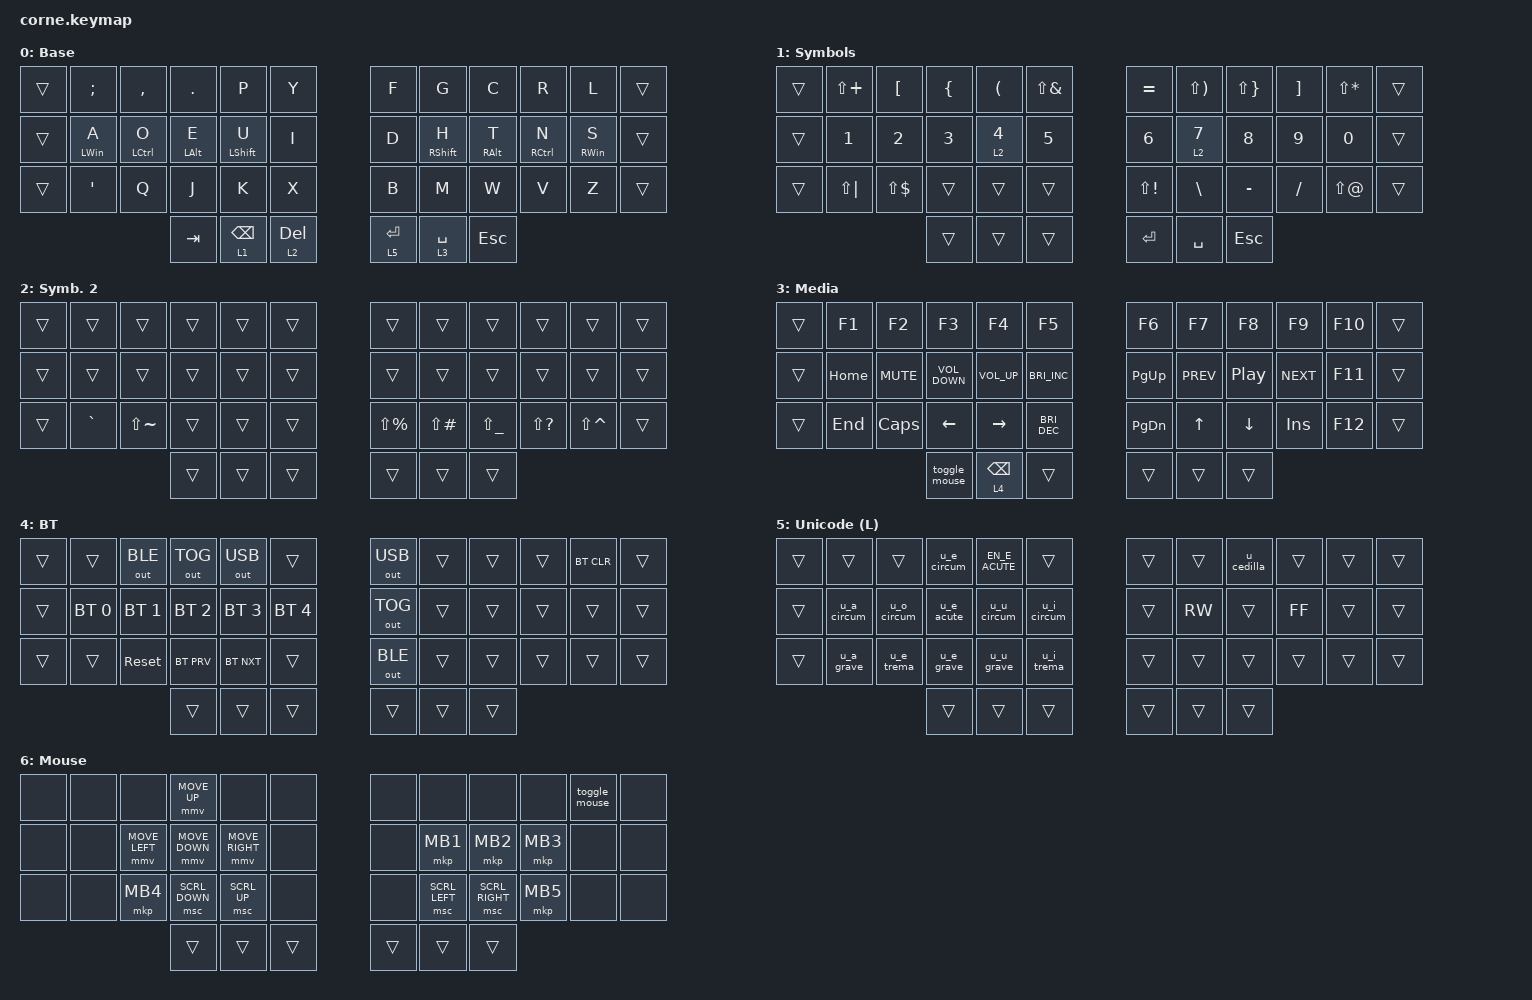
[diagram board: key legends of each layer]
/*
 * Copyright (c) 2020 The ZMK Contributors
 *
 * SPDX-License-Identifier: MIT
 */

#include <behaviors.dtsi>
#include <dt-bindings/zmk/bt.h>
#include <dt-bindings/zmk/keys.h>
#include <dt-bindings/zmk/outputs.h>
#include <dt-bindings/zmk/pointing.h>
#include "keys_us_international.h"

&mt {
    tapping-term-ms = <165>;
    require-prior-idle-ms = <120>;
    quick-tap-ms = <120>;
    flavor = "tap-preferred";
};

&lt { quick-tap-ms = <150>; };

&mmv { acceleration-exponent = <4>; };

/ {
    macros {
        u_cedilla: unicode {
            compatible = "zmk,behavior-macro";
            #binding-cells = <0>;
            bindings = <&kp LC(RS(U)) &kp E &kp NUMBER_7 &kp RETURN>;
            label = "UNICODE";
        };

        u_e_acute: unicode_e_acute {
            compatible = "zmk,behavior-macro";
            #binding-cells = <0>;
            bindings = <&kp LC(RS(U)) &kp E &kp N9 &kp RETURN>;
            label = "UNICODE_E_ACUTE";
        };

        u_e_grave: unicode_e_grave {
            compatible = "zmk,behavior-macro";
            #binding-cells = <0>;
            bindings = <&kp LC(RS(U)) &kp E &kp N8 &kp RETURN>;
            label = "UNICODE_E_GRAVE";
        };

        u_e_circum: u_e_circum {
            compatible = "zmk,behavior-macro";
            #binding-cells = <0>;
            bindings = <&kp LC(RS(U)) &kp E &kp A &kp RETURN>;
            label = "U_E_CIRCUM";
            wait-ms = <0>;
        };

        u_e_trema: u_e_trema {
            compatible = "zmk,behavior-macro";
            #binding-cells = <0>;
            bindings = <&kp LC(RS(U)) &kp E &kp B &kp RETURN>;
            label = "U_E_TREMA";
        };

        u_o_circum: u_o_circum {
            compatible = "zmk,behavior-macro";
            #binding-cells = <0>;
            bindings = <&kp LC(RS(U)) &kp F &kp N4 &kp RETURN>;
            label = "U_O_CIRCUM";
        };

        u_i_circum: u_i_circum {
            compatible = "zmk,behavior-macro";
            #binding-cells = <0>;
            bindings = <&kp LC(RS(U)) &kp E &kp E &kp RETURN>;
            label = "U_I_CIRCUM";
        };

        u_i_trema: u_i_trema {
            compatible = "zmk,behavior-macro";
            #binding-cells = <0>;
            bindings = <&kp LC(RS(U)) &kp E &kp F &kp RETURN>;
            label = "U_I_TREMA";
        };

        u_a_grave: u_a_grave {
            compatible = "zmk,behavior-macro";
            #binding-cells = <0>;
            bindings = <&kp LC(RS(U)) &kp E &kp N0 &kp RETURN>;
            label = "U_A_GRAVE";
        };

        u_u_grave: u_u_grave {
            compatible = "zmk,behavior-macro";
            #binding-cells = <0>;
            bindings = <&kp LC(RS(U)) &kp F &kp N9 &kp RETURN>;
            label = "U_U_GRAVE";
            wait-ms = <0>;
        };

        u_u_circum: u_u_circum {
            compatible = "zmk,behavior-macro";
            #binding-cells = <0>;
            bindings = <&kp LC(RS(U)) &kp F &kp B &kp RETURN>;
            label = "U_U_CIRCUM";
        };

        u_a_circum: u_a_circum {
            compatible = "zmk,behavior-macro";
            #binding-cells = <0>;
            bindings = <&kp LC(RS(U)) &kp E &kp N2 &kp RETURN>;
            label = "U_A_CIRCUM";
            wait-ms = <0>;
        };

        toggle_mouse: toggle_mouse {
            compatible = "zmk,behavior-macro";
            #binding-cells = <0>;
            bindings = <&tog 6>;
            label = "TOGGLE_MOUSE";
        };
    };

    keymap {
        compatible = "zmk,keymap";

        Base {
            // -----------------------------------------------------------------------------------------
            // |  TAB |  Q  |  W  |  E  |  R  |  T  |   |  Y  |  U   |  I  |  O  |  P  | BKSP |
            // | CTRL |  A  |  S  |  D  |  F  |  G  |   |  H  |  J   |  K  |  L  |  ;  |  '   |
            // | SHFT |  Z  |  X  |  C  |  V  |  B  |   |  N  |  M   |  ,  |  .  |  /  | ESC  |
            //                    | GUI | LWR | SPC |   | ENT | RSE  | ALT |

            display-name = "Base";
            bindings = <
&trans  &kp SEMICOLON   &kp COMMA           &kp PERIOD      &kp P             &kp Y           &kp F        &kp G              &kp C            &kp R                &kp L            &trans
&trans  &mt LEFT_WIN A  &mt LEFT_CONTROL O  &mt LEFT_ALT E  &mt LEFT_SHIFT U  &kp I           &kp D        &mt RIGHT_SHIFT H  &mt RIGHT_ALT T  &mt RIGHT_CONTROL N  &mt RIGHT_WIN S  &trans
&trans  &kp SQT         &kp Q               &kp J           &kp K             &kp X           &kp B        &kp M              &kp W            &kp V                &kp Z            &trans
                                            &kp TAB         &lt 1 BACKSPACE   &lt 2 DELETE    &lt 5 ENTER  &lt 3 SPACE        &kp ESCAPE
            >;
        };

        Symbols {
            display-name = "Symbols";
            bindings = <
&trans  &kp LS(PLUS)  &kp LBKT      &kp LEFT_BRACE  &kp LEFT_PARENTHESIS  &kp LS(AMPS)    &kp EQUAL     &kp LS(RPAR)    &kp LS(RBRC)  &kp RIGHT_BRACKET  &kp LS(STAR)  &trans
&trans  &kp N1        &kp N2        &kp N3          &lt 2 NUMBER_4        &kp N5          &kp N6        &lt 2 NUMBER_7  &kp N8        &kp N9             &kp N0        &trans
&trans  &kp LS(PIPE)  &kp LS(DLLR)  &trans          &trans                &trans          &kp LS(EXCL)  &kp BSLH        &kp MINUS     &kp FSLH           &kp LS(AT)    &trans
                                    &trans          &trans                &trans          &kp ENTER     &kp SPACE       &kp ESCAPE
            >;
        };

        Symbols_Alt {
            display-name = "Symb. 2";
            bindings = <
&trans  &trans     &trans         &trans  &trans  &trans    &trans         &trans         &trans         &trans         &trans         &trans
&trans  &trans     &trans         &trans  &trans  &trans    &trans         &trans         &trans         &trans         &trans         &trans
&trans  &kp GRAVE  &kp LS(TILDE)  &trans  &trans  &trans    &kp LS(PRCNT)  &kp LS(POUND)  &kp LS(UNDER)  &kp LS(QMARK)  &kp LS(CARET)  &trans
                                  &trans  &trans  &trans    &trans         &trans         &trans
            >;
        };

        Media {
            display-name = "Media";
            bindings = <
&trans  &kp F1    &kp F2        &kp F3             &kp F4           &kp F5                  &kp F6     &kp F7      &kp F8    &kp F9      &kp F10  &trans
&trans  &kp HOME  &kp K_MUTE    &kp C_VOLUME_DOWN  &kp C_VOLUME_UP  &kp C_BRIGHTNESS_INC    &kp PG_UP  &kp C_PREV  &kp C_PP  &kp C_NEXT  &kp F11  &trans
&trans  &kp END   &kp CAPSLOCK  &kp LEFT           &kp RIGHT        &kp C_BRIGHTNESS_DEC    &kp PG_DN  &kp UP      &kp DOWN  &kp INSERT  &kp F12  &trans
                                &toggle_mouse      &lt 4 BACKSPACE  &trans                  &trans     &trans      &trans
            >;
        };

        Bluetooth {
            display-name = "BT";
            bindings = <
&trans  &trans        &out OUT_BLE  &out OUT_TOG  &out OUT_USB  &trans          &out OUT_USB  &trans  &trans  &trans  &bt BT_CLR  &trans
&trans  &bt BT_SEL 0  &bt BT_SEL 1  &bt BT_SEL 2  &bt BT_SEL 3  &bt BT_SEL 4    &out OUT_TOG  &trans  &trans  &trans  &trans      &trans
&trans  &trans        &sys_reset    &bt BT_PRV    &bt BT_NXT    &trans          &out OUT_BLE  &trans  &trans  &trans  &trans      &trans
                                    &trans        &trans        &trans          &trans        &trans  &trans
            >;
        };

        Unicode_Linux {
            display-name = "Unicode (L)";
            bindings = <
&trans  &trans       &trans       &u_e_circum  &kp EN_E_ACUTE  &trans         &trans  &trans    &u_cedilla  &trans    &trans  &trans
&trans  &u_a_circum  &u_o_circum  &u_e_acute   &u_u_circum     &u_i_circum    &trans  &kp C_RW  &trans      &kp C_FF  &trans  &trans
&trans  &u_a_grave   &u_e_trema   &u_e_grave   &u_u_grave      &u_i_trema     &trans  &trans    &trans      &trans    &trans  &trans
                                  &trans       &trans          &trans         &trans  &trans    &trans
            >;
        };

        Mouse {
            bindings = <
&none  &none  &none           &mmv MOVE_UP    &none            &none     &none   &none           &none            &none     &toggle_mouse  &none
&none  &none  &mmv MOVE_LEFT  &mmv MOVE_DOWN  &mmv MOVE_RIGHT  &none     &none   &mkp MB1        &mkp MB2         &mkp MB3  &none          &none
&none  &none  &mkp MB4        &msc SCRL_DOWN  &msc SCRL_UP     &none     &none   &msc SCRL_LEFT  &msc SCRL_RIGHT  &mkp MB5  &none          &none
                              &trans          &trans           &trans    &trans  &trans          &trans
            >;

            label = "Mouse";
        };
    };
};
